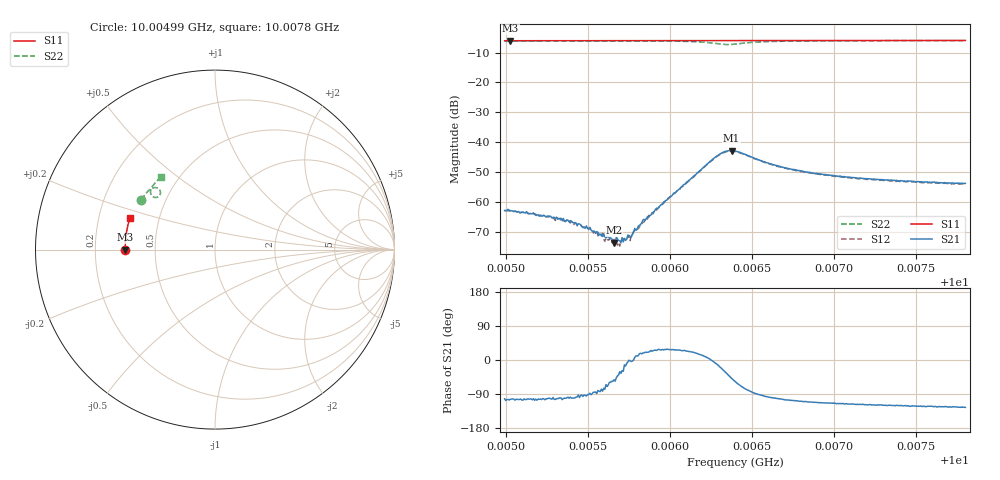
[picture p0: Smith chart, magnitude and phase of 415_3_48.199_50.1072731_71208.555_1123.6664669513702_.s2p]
#  HZ  S  RI  R  50.00
! Rohde & Schwarz Vector Network Analyzer
! Rohde-Schwarz,ZNB20-2Port,1311601062101988,3.16
! Created: UTC 3/20/2024, 11:54:42 AM
! freq[Hz]  re:S11  im:S11  re:S21  im:S21  re:S12  im:S12  re:S22  im:S22
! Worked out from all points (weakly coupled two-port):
!   401 points, 10.00499 GHz to 10.0078 GHz, reference 50 ohm
!   highest |S21| = -42.81 dB at 10.00637 GHz (marker M1); lowest = -73.7 dB at 10.00566 GHz (marker M2)
!   lowest |S11| = -6.0 dB at 10.00503 GHz (marker M3), VSWR 3.00, Z = 16.7 - j0.0222 ohm
!   |S11| at or under -10 dB: nowhere
!   |S22| runs from -7.3 to -6.0 dB; largest |S21 - S12| = 0.00042
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1.0004992e10  -0.4996 -0.00281  -0.000155 -0.0007  -0.000116 -0.000711  -0.4097 0.277
1.0005027e10  -0.4996 -0.000499  -0.000164 -0.000684  -0.000129 -0.00071  -0.4084 0.279
1.0005322e10  -0.5 0.0187  -0.000102 -0.000518  -8.03e-05 -0.000516  -0.3972 0.2964
1.0005463e10  -0.4997 0.0278  -1.59e-05 -0.000391  -1.48e-05 -0.000389  -0.391 0.3048
1.0005505e10  -0.4997 0.0305  -6.35e-06 -0.000358  -1.35e-05 -0.000349  -0.389 0.3073
1.0005582e10  -0.4995 0.0354  6.12e-05 -0.000264  5.43e-05 -0.000279  -0.3854 0.3122
1.000561e10  -0.4994 0.0373  0.000106 -0.000228  7.37e-05 -0.00024  -0.3839 0.3138
1.0005659e10  -0.4994 0.0405  0.000127 -0.000164  0.000155 -0.000178  -0.3817 0.3168
1.0005694e10  -0.4992 0.0428  0.000193 -0.000114  0.00013 -0.000128  -0.3796 0.3192
1.0005715e10  -0.4991 0.0443  0.000186 -0.000107  0.000222 -7.87e-05  -0.3785 0.3204
1.0005743e10  -0.499 0.0459  0.000278 -2.47e-05  0.000253 -1.54e-05  -0.377 0.3222
1.0005764e10  -0.4989 0.0473  0.000258 -1.86e-05  0.000292 1.44e-05  -0.3755 0.3235
1.0005848e10  -0.4985 0.0527  0.000464 0.000175  0.000454 0.000186  -0.3702 0.3289
1.0005933e10  -0.4979 0.0582  0.000715 0.00038  0.000733 0.000391  -0.3638 0.3346
1.0006276e10  -0.4952 0.0804  0.00559 -0.000801  0.00548 -0.000484  -0.3065 0.3296
1.0006326e10  -0.4947 0.0833  0.0061 -0.0031  0.00608 -0.00271  -0.3049 0.309
1.0006375e10  -0.4944 0.0861  0.00482 -0.0054  0.00497 -0.00502  -0.3199 0.2924
1.0006396e10  -0.4942 0.0873  0.00392 -0.00592  0.00417 -0.0056  -0.3287 0.2902
1.0006648e10  -0.4921 0.1036  -0.000812 -0.00399  -0.00061 -0.00391  -0.3582 0.3312
1.0006866e10  -0.4895 0.1173  -0.00112 -0.00286  -0.000941 -0.00286  -0.3487 0.3523
1.0007336e10  -0.4826 0.147  -0.00112 -0.00199  -0.000999 -0.00202  -0.3249 0.381
1.0007799e10  -0.4739 0.1753  -0.00117 -0.00167  -0.00105 -0.00169  -0.3014 0.4029
